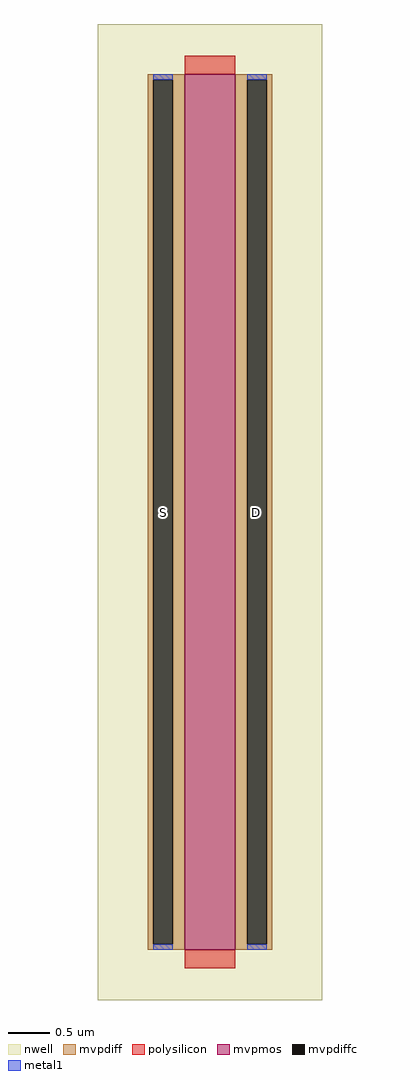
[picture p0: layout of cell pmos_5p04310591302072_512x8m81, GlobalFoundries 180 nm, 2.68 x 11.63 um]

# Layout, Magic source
magic
tech gf180mcuA
magscale 1 10
<< nwell >>
rect -208 -120 328 2206
<< mvpmos >>
rect 0 0 120 2086
<< mvpdiff >>
rect -88 2073 0 2086
rect -88 13 -75 2073
rect -29 13 0 2073
rect -88 0 0 13
rect 120 2073 208 2086
rect 120 13 149 2073
rect 195 13 208 2073
rect 120 0 208 13
<< mvpdiffc >>
rect -75 13 -29 2073
rect 149 13 195 2073
<< polysilicon >>
rect 0 2086 120 2130
rect 0 -44 120 0
<< metal1 >>
rect -75 2073 -29 2086
rect -75 0 -29 13
rect 149 2073 195 2086
rect 149 0 195 13
<< labels >>
flabel metal1 s -52 1043 -52 1043 0 FreeSans 400 0 0 0 S
flabel metal1 s 172 1043 172 1043 0 FreeSans 400 0 0 0 D
<< properties >>
string GDS_END 169732
string GDS_FILE $PDKPATH/libs.ref/gf180mcu_fd_ip_sram/gds/gf180mcu_fd_ip_sram__sram512x8m8wm1.gds
string GDS_START 166084
<< end >>
